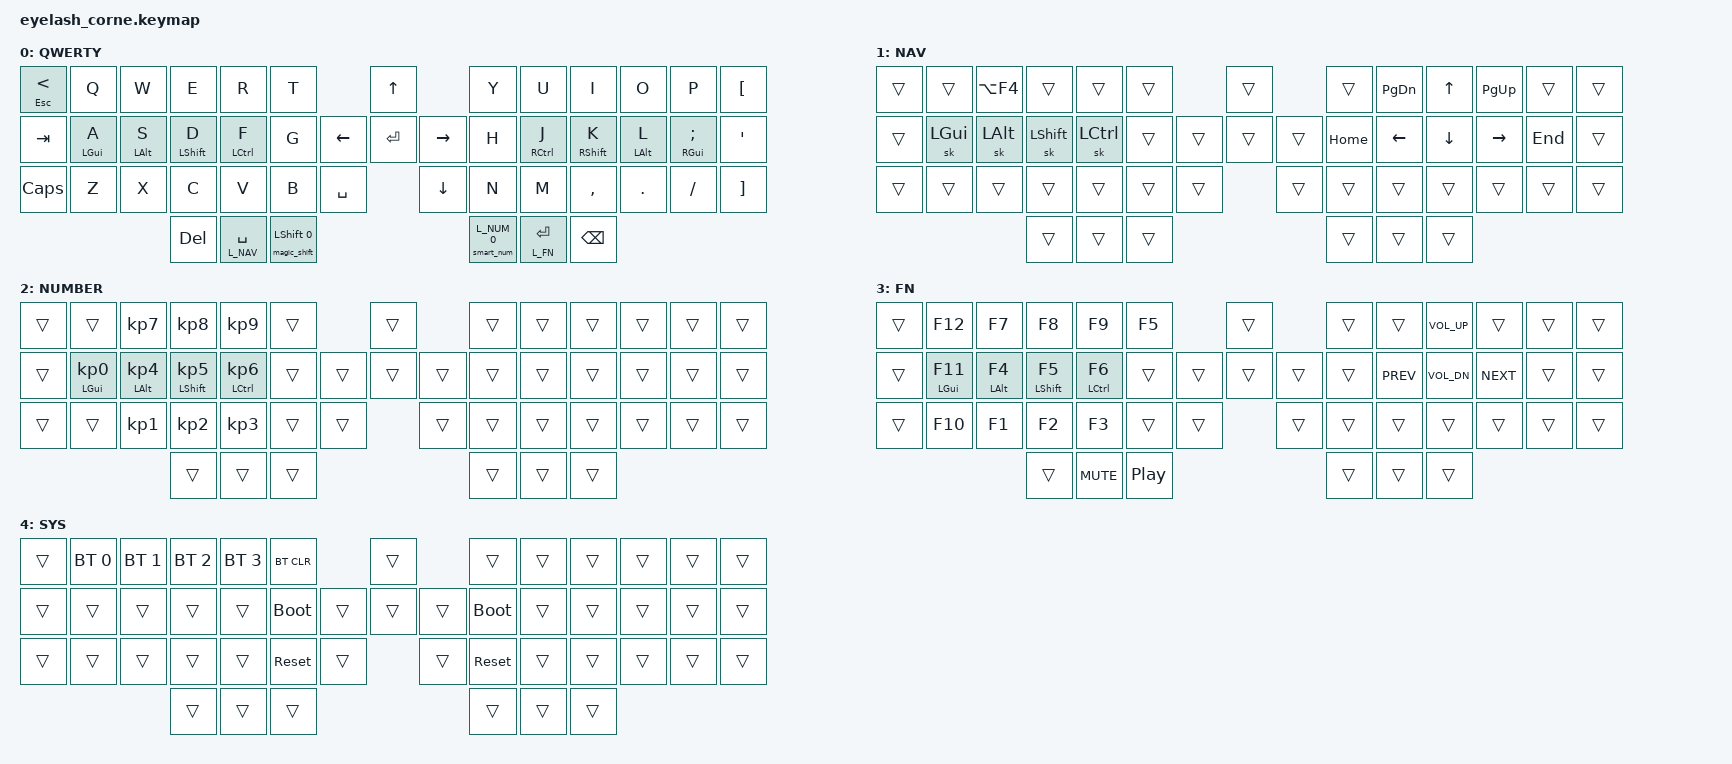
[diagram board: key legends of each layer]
#define ZMK_POINTING_DEFAULT_MOVE_VAL 1200  // 600
#define ZMK_POINTING_DEFAULT_SCRL_VAL 25   // 10

#include <input/processors.dtsi>
#include <zephyr/dt-bindings/input/input-event-codes.h>
#include <behaviors.dtsi>
#include <behaviors/num_word.dtsi> // Requires zmk-auto-layer module.
#include <dt-bindings/zmk/bt.h>
#include <dt-bindings/zmk/keys.h>
#include <dt-bindings/zmk/outputs.h>
#include <dt-bindings/zmk/pointing.h>
#include <dt-bindings/zmk/rgb.h>

#include "zmk-helpers/helper.h"
#include "zmk-helpers/key-labels/eyelash42.h"

#define L_DEF 0
#define L_NAV 1
#define L_NUM 2
#define L_FN  3
#define L_SYS 4
#define QUICK_TAP_MS 175

&mmv_input_listener { input-processors = <&zip_xy_scaler 2 1>; };

&msc_input_listener { input-processors = <&zip_scroll_scaler 2 1>; };

&msc {
    acceleration-exponent = <1>;      // 0
    time-to-max-speed-ms = <100>;       // 300
    delay-ms = <0>;                   // 0
};

&mmv {
    time-to-max-speed-ms = <500>;
    acceleration-exponent = <1>;
    trigger-period-ms = <16>;
};

&lt {
  flavor = "balanced";
  tapping-term-ms = <200>;
  quick-tap-ms = <QUICK_TAP_MS>;
};

&soft_off { hold-time-ms = <2000>; };

/ {
    behaviors {
        td0: td0 {
            compatible = "zmk,behavior-tap-dance";
            display-name = "Shift/Caps Lock Tap Dance";
            #binding-cells = <0>;
            bindings = <&kp LEFT_SHIFT>, <&kp CAPS>;
        };
    };

    rgb_encoder: rgb_encoder {
        compatible = "zmk,behavior-sensor-rotate";
        #sensor-binding-cells = <0>;
        bindings = <&rgb_ug RGB_BRI>, <&rgb_ug RGB_BRD>;
    };

    scroll_encoder: scroll_encoder {
        compatible = "zmk,behavior-sensor-rotate";
        #sensor-binding-cells = <0>;
        bindings = <&msc SCRL_DOWN>, <&msc SCRL_UP>;

        tap-ms = <100>;
    };
};

/* Timeless homerow mods (https://github.com/urob/zmk-config#timeless-homerow-mods) */

#define KEYS_L LT0 LT1 LT2 LT3 LT4 LT5 LM0 LM1 LM2 LM3 LM4 LM5 LB0 LB1 LB2 LB3 LB4 LB5  // Left-hand keys.
#define KEYS_R RT0 RT1 RT2 RT3 RT4 RT5 RM0 RM1 RM2 RM3 RM4 RM5 RB0 RB1 RB2 RB3 RB4 RB5  // Right-hand keys.
#define THUMBS LH2 LH1 LH0 RH0 RH1 RH2                                                  // Thumb keys.
#define CENTER JS0 JS1 JS2 JS3 JS4 LEC                                                  // Joystick and encoder.

#define MAKE_HRM(NAME, HOLD, TAP, TRIGGER_POS)                                 \
  ZMK_HOLD_TAP(NAME, bindings = <HOLD>, <TAP>; flavor = "balanced";            \
               tapping-term-ms = <280>; quick-tap-ms = <175>;                  \
               require-prior-idle-ms = <150>; hold-trigger-on-release;         \
               hold-trigger-key-positions = <TRIGGER_POS>;)

MAKE_HRM(hml, &kp, &kp, KEYS_R THUMBS CENTER) // Left-hand HRMs.
MAKE_HRM(hmr, &kp, &kp, KEYS_L THUMBS CENTER) // Right-hand HRMs.

// Hack: Make HRM combos tap-only (cf, ZMK issue #544).
#define ZMK_COMBO_8(NAME, TAP, POS, LAYERS, COMBO_MS, IDLE_MS, HOLD, SIDE)     \
  MAKE_HRM(hm_combo_##NAME, &kp, TAP, SIDE THUMBS)                             \
  ZMK_COMBO_6(NAME, &hm_combo_##NAME HOLD 0, POS, LAYERS, COMBO_MS, IDLE_MS)

/* Combos, leader key sequences, mouse emulation */

#include "combos.dtsi" // Must be sourced after HRM-combo hack.

/* Smart-Number (https://github.com/urob/zmk-config) */

#define SMART_NUM &smart_num L_NUM 0
ZMK_HOLD_TAP(smart_num, bindings = <&mo>, <&num_dance>; flavor = "balanced";
             tapping-term-ms = <200>; quick-tap-ms = <QUICK_TAP_MS>;)
ZMK_TAP_DANCE(num_dance, bindings = <&num_word L_NUM>, <&sl L_NUM>;
              tapping-term-ms = <200>;)

/* Magic-shift (https://github.com/urob/zmk-config) */

// Tap: repeat after alpha, else sticky-shift |
// Shift + tap/ double-tap: caps-word | Hold: shift.
#define MAGIC_SHIFT &magic_shift LSHFT 0
ZMK_HOLD_TAP(magic_shift, bindings = <&kp>, <&magic_shift_tap>;
             flavor = "balanced"; tapping-term-ms = <200>;
             quick-tap-ms = <QUICK_TAP_MS>;)
ZMK_MOD_MORPH(magic_shift_tap, bindings = <&shift_repeat>, <&caps_word>;
              mods = <(MOD_LSFT)>;)
ZMK_ADAPTIVE_KEY(
    shift_repeat, bindings = <&sk LSHFT>;
    repeat {
      trigger-keys = <A B C D E F G H I J K L M N O P Q R S T U V W X Y Z>;
      bindings = <&key_repeat>;
      max-prior-idle-ms = <1200>;
      strict-modifiers;
    };)  // Requires zmk-adaptive-key module.
&caps_word {
  continue-list = <FSLH LS(FSLH)>;
};

ZMK_COMBO(softoff, &soft_off, LT4 LM3 LB4)

ZMK_CONDITIONAL_LAYER(sys, L_FN L_NAV, L_SYS) // FN + NAV --> SYS.

/* Position layout (eyelash42.h)
 *
 * LT5 LT4 LT3 LT2 LT1 LT0          JS0          RT0 RT1 RT2 RT3 RT4 RT5
 * LM5 LM4 LM3 LM2 LM1 LM0      JS1 JS2 JS3      RM0 RM1 RM2 RM3 RM4 RM5
 * LB5 LB4 LB3 LB2 LB1 LB0  LEC     JS4          RB0 RB1 RB2 RB3 RB4 RB5
 *             LH2 LH1 LH0                       RH0 RH1 RH2
 */

ZMK_LAYER(QWERTY,
//╭─────────────┬─────────────┬─────────────┬─────────────┬─────────────┬─────────────╮            ╭──────────╮           ╭─────────────┬─────────────┬─────────────┬─────────────┬─────────────┬─────────────╮
    &mt ESC LT   &kp Q         &kp W         &kp E         &kp R         &kp T                      &kp UP                 &kp Y         &kp U         &kp I         &kp O         &kp P         &kp LEFT_BRACKET
//├─────────────┼─────────────┼─────────────┼─────────────┼─────────────┼─────────────┤ ╭──────────┼──────────┼─────────╮ ├─────────────┼─────────────┼─────────────┼─────────────┼─────────────┼─────────────┤
    &kp TAB      &hml LGUI A   &hml LALT S   &hml LSHFT D  &hml LCTRL F  &kp G           &kp LEFT   &kp ENTER  &kp RIGHT   &kp H         &hmr RCTRL J  &hmr RSHFT K  &hmr LALT L   &hmr RGUI SEMI &kp SQT
//├─────────────┼─────────────┼─────────────┼─────────────┼─────────────┼─────────────┤ ├──────────┼──────────┼─────────┤ ├─────────────┼─────────────┼─────────────┼─────────────┼─────────────┼─────────────┤
    &kp CAPS     &kp Z         &kp X         &kp C         &kp V         &kp B           &kp SPACE  &kp DOWN               &kp N         &kp M         &kp COMMA     &kp DOT       &kp FSLH      &kp RIGHT_BRACKET
//╰─────────────┴─────────────┴─────────────┼─────────────┼─────────────┼─────────────┤ ╰──────────┴──────────╯           ├─────────────┼─────────────┼─────────────┼─────────────┼─────────────┴─────────────╯
                                             &kp DELETE    &lt L_NAV SPACE MAGIC_SHIFT                                      SMART_NUM    &lt L_FN ENTER &kp BACKSPACE
//                                          ╰─────────────┴─────────────┴─────────────╯                                   ╰─────────────┴─────────────┴─────────────╯
,
&inc_dec_kp C_VOLUME_UP C_VOL_DN
)

ZMK_LAYER(NAV,
//╭─────────────┬─────────────┬─────────────┬─────────────┬─────────────┬─────────────╮            ╭──────────╮           ╭─────────────┬─────────────┬─────────────┬─────────────┬─────────────┬─────────────╮
    &trans       &trans        &kp LA(F4)       &trans        &trans        &trans                     &trans                 &trans        &kp PG_DN     &kp UP        &kp PG_UP     &trans        &trans        
//├─────────────┼─────────────┼─────────────┼─────────────┼─────────────┼─────────────┤ ╭──────────┼──────────┼─────────╮ ├─────────────┼─────────────┼─────────────┼─────────────┼─────────────┼─────────────┤
    &trans       &sk LGUI      &sk LALT      &sk LSHIFT    &sk LCTRL     &trans          &trans     &trans     &trans      &kp HOME      &kp LEFT      &kp DOWN      &kp RIGHT     &kp END       &trans        
//├─────────────┼─────────────┼─────────────┼─────────────┼─────────────┼─────────────┤ ├──────────┼──────────┼─────────┤ ├─────────────┼─────────────┼─────────────┼─────────────┼─────────────┼─────────────┤
    &trans       &trans        &trans        &trans        &trans        &trans          &trans     &trans                 &trans        &trans        &trans        &trans        &trans        &trans        
//╰─────────────┴─────────────┴─────────────┼─────────────┼─────────────┼─────────────┤ ╰──────────┴──────────╯           ├─────────────┼─────────────┼─────────────┼─────────────┼─────────────┴─────────────╯
                                             &trans        &trans        &trans                                            &trans        &trans        &trans
//                                          ╰─────────────┴─────────────┴─────────────╯                                   ╰─────────────┴─────────────┴─────────────╯
,
&scroll_encoder
)

ZMK_LAYER(NUMBER,
//╭─────────────┬─────────────┬─────────────┬─────────────┬─────────────┬─────────────╮            ╭──────────╮           ╭─────────────┬─────────────┬─────────────┬─────────────┬─────────────┬─────────────╮
    &trans       &trans        &kp KP_N7     &kp KP_N8     &kp KP_N9     &trans                     &trans                 &trans        &trans        &trans        &trans        &trans        &trans        
//├─────────────┼─────────────┼─────────────┼─────────────┼─────────────┼─────────────┤ ╭──────────┼──────────┼─────────╮ ├─────────────┼─────────────┼─────────────┼─────────────┼─────────────┼─────────────┤
    &trans  &hml LGUI KP_N0  &hml LALT KP_N4 &hml LSHIFT KP_N5 &hml LCTRL KP_N6 &trans   &trans     &trans     &trans      &trans        &trans        &trans        &trans        &trans        &trans        
//├─────────────┼─────────────┼─────────────┼─────────────┼─────────────┼─────────────┤ ├──────────┼──────────┼─────────┤ ├─────────────┼─────────────┼─────────────┼─────────────┼─────────────┼─────────────┤
    &trans       &trans        &kp KP_N1     &kp KP_N2     &kp KP_N3     &trans          &trans     &trans                 &trans        &trans        &trans        &trans        &trans        &trans        
//╰─────────────┴─────────────┴─────────────┼─────────────┼─────────────┼─────────────┤ ╰──────────┴──────────╯           ├─────────────┼─────────────┼─────────────┼─────────────┼─────────────┴─────────────╯
                                             &trans        &trans        &trans                                            &trans        &trans        &trans
//                                          ╰─────────────┴─────────────┴─────────────╯                                   ╰─────────────┴─────────────┴─────────────╯
,
&scroll_encoder
)

ZMK_LAYER(FN,
//╭─────────────┬─────────────┬─────────────┬─────────────┬─────────────┬─────────────╮            ╭──────────╮           ╭─────────────┬─────────────┬─────────────┬─────────────┬─────────────┬─────────────╮
    &trans       &kp F12       &kp F7        &kp F8        &kp F9        &kp F5                     &trans                 &trans        &trans        &kp C_VOL_UP  &trans        &trans        &trans        
//├─────────────┼─────────────┼─────────────┼─────────────┼─────────────┼─────────────┤ ╭──────────┼──────────┼─────────╮ ├─────────────┼─────────────┼─────────────┼─────────────┼─────────────┼─────────────┤
    &trans       &hml LGUI F11 &hml LALT F4  &hml LSHIFT F5 &hml LCTRL F6 &trans         &trans     &trans     &trans      &trans        &kp C_PREV    &kp C_VOL_DN  &kp C_NEXT    &trans        &trans        
//├─────────────┼─────────────┼─────────────┼─────────────┼─────────────┼─────────────┤ ├──────────┼──────────┼─────────┤ ├─────────────┼─────────────┼─────────────┼─────────────┼─────────────┼─────────────┤
    &trans       &kp F10       &kp F1        &kp F2        &kp F3        &trans          &trans     &trans                 &trans        &trans        &trans        &trans        &trans        &trans        
//╰─────────────┴─────────────┴─────────────┼─────────────┼─────────────┼─────────────┤ ╰──────────┴──────────╯           ├─────────────┼─────────────┼─────────────┼─────────────┼─────────────┴─────────────╯
                                             &trans        &kp C_MUTE    &kp C_PLAY_PAUSE                                  &trans        &trans        &trans
//                                          ╰─────────────┴─────────────┴─────────────╯                                   ╰─────────────┴─────────────┴─────────────╯
,
&scroll_encoder
)

ZMK_LAYER(SYS,
//╭─────────────┬─────────────┬─────────────┬─────────────┬─────────────┬─────────────╮            ╭──────────╮           ╭─────────────┬─────────────┬─────────────┬─────────────┬─────────────┬─────────────╮
    &trans       &bt BT_SEL 0  &bt BT_SEL 1  &bt BT_SEL 2  &bt BT_SEL 3  &bt BT_CLR                 &trans                 &trans        &trans        &trans        &trans        &trans        &trans
//├─────────────┼─────────────┼─────────────┼─────────────┼─────────────┼─────────────┤ ╭──────────┼──────────┼─────────╮ ├─────────────┼─────────────┼─────────────┼─────────────┼─────────────┼─────────────┤
    &trans       &trans        &trans        &trans        &trans        &bootloader     &trans     &trans     &trans      &bootloader   &trans        &trans        &trans        &trans        &trans
//├─────────────┼─────────────┼─────────────┼─────────────┼─────────────┼─────────────┤ ├──────────┼──────────┼─────────┤ ├─────────────┼─────────────┼─────────────┼─────────────┼─────────────┼─────────────┤
    &trans       &trans        &trans        &trans        &trans        &sys_reset      &trans     &trans                 &sys_reset    &trans        &trans        &trans        &trans        &trans
//╰─────────────┴─────────────┴─────────────┼─────────────┼─────────────┼─────────────┤ ╰──────────┴──────────╯           ├─────────────┼─────────────┼─────────────┼─────────────┼─────────────┴─────────────╯
                                             &trans        &trans        &trans                                            &trans        &trans        &trans
//                                          ╰─────────────┴─────────────┴─────────────╯                                   ╰─────────────┴─────────────┴─────────────╯
,
&scroll_encoder
)
